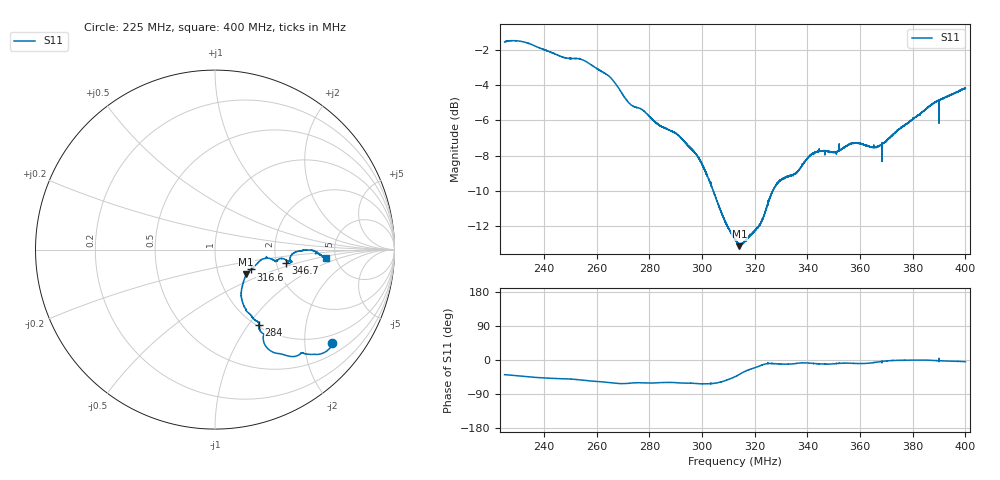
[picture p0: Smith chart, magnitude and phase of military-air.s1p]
! Calibrated averaged scanner-service zoom
# Hz S RI R 50
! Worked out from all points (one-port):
!   10001 points, 225 MHz to 400 MHz, reference 50 ohm
!   lowest |S11| = -13.1 dB at 314.1 MHz (marker M1), VSWR 1.56, Z = 67.8 - j19.4 ohm
!   |S11| at or under -10 dB: 304.2032 MHz to 304.2173 MHz (14.17 kHz wide, 0.00466 % of centre); 304.2 MHz to 326.8 MHz (22.58 MHz wide, 7.16 % of centre); 326.8603 MHz to 326.8696 MHz (9.259 kHz wide, 0.00283 % of centre)
!   S11 on the Smith chart (normalised r, x): 225 MHz: 0.76, -2.66; 284 MHz: 1.03, -1.12; 316.6 MHz: 1.45, -0.34; 346.7 MHz: 2.26, -0.39; 400 MHz: 4.14, -0.64
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2.25e8  0.6532 -0.5229
2.34625e8  0.5864 -0.5821
2.46875e8  0.4915 -0.5771
2.523175e8  0.4698 -0.5852
2.5685e8  0.42 -0.5948
2.65145e8  0.3318 -0.5745
2.6875e8  0.2846 -0.541
2.73545e8  0.2706 -0.4794
2.84045e8  0.2437 -0.4176
2.90625e8  0.2278 -0.3959
2.99165e8  0.1773 -0.3445
3.0585e8  0.1448 -0.2545
3.125e8  0.1654 -0.1602
3.14145e8  0.1733 -0.136
3.166125e8  0.1996 -0.1105
3.21775e8  0.2423 -0.0696
3.24505e8  0.279 -0.0481
3.28425e8  0.3279 -0.0582
3.34375e8  0.345 -0.0613
3.415675e8  0.3976 -0.0597
3.466775e8  0.3958 -0.072
3.5625e8  0.424 -0.0639
3.614825e8  0.4218 -0.0681
3.665225e8  0.4197 -0.041
3.71825e8  0.4515 -0.0128
3.78125e8  0.4925 -0.00538
3.855625e8  0.5434 -0.00481
4e8  0.617 -0.0479
